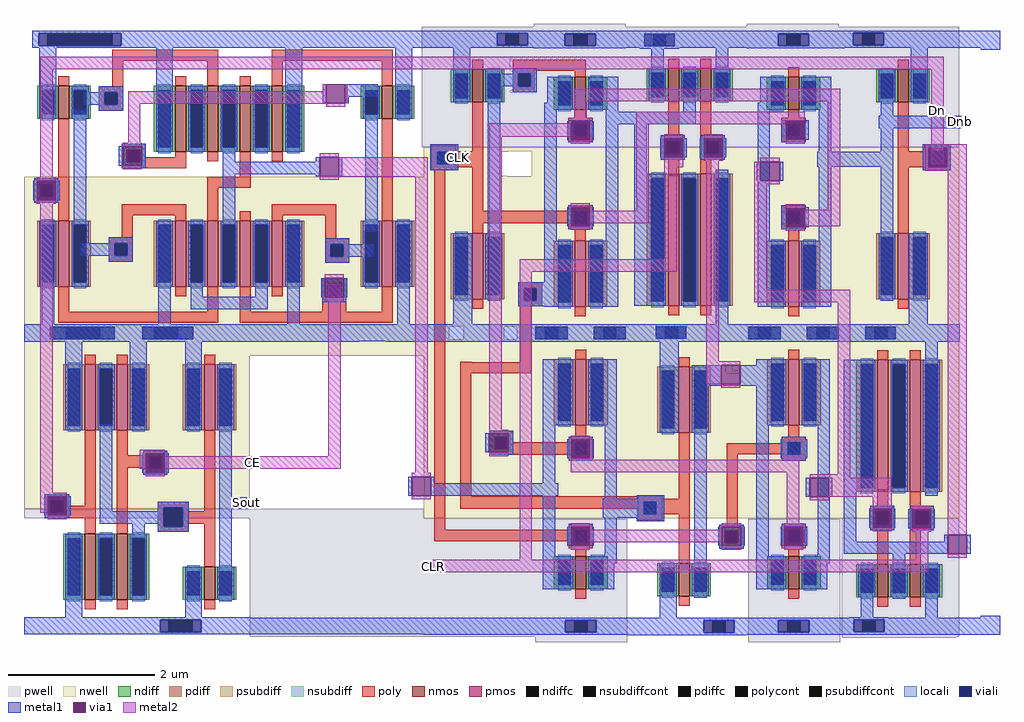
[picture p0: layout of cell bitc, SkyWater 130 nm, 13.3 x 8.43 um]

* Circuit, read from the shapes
.subckt bitc CE CLK CLR Dn Dnb Sout vdd! vss!
XM1 n1 Dn vss! vss! sky130_fd_pr__nfet_01v8 w=0.45 l=0.15
XM2 n2 Dn vss! vss! sky130_fd_pr__nfet_01v8 w=0.9 l=0.15
XM3 n3 CE n2 vss! sky130_fd_pr__nfet_01v8 w=0.9 l=0.15
XM4 n4 n5 vss! vss! sky130_fd_pr__nfet_01v8 w=0.9 l=0.15
XM5 Sout n3 vss! vss! sky130_fd_pr__nfet_01v8 w=0.45 l=0.15
XM6 ffd_0/D n1 n4 vss! sky130_fd_pr__nfet_01v8 w=0.9 l=0.15
XM7 n6 Dn ffd_0/D vss! sky130_fd_pr__nfet_01v8 w=0.9 l=0.15
XM8 vss! CE n6 vss! sky130_fd_pr__nfet_01v8 w=0.9 l=0.15
XM9 vss! CE n5 vss! sky130_fd_pr__nfet_01v8 w=0.45 l=0.15
XM10 ffd_0/tg_0/en CLK vss! vss! sky130_fd_pr__nfet_01v8 w=0.45 l=0.15
XM11 n7 ffd_0/tg_0/en n8 vss! sky130_fd_pr__nfet_01v8 w=0.45 l=0.15
XM12 n8 CLK ffd_0/D vss! sky130_fd_pr__nfet_01v8 w=0.45 l=0.15
XM13 n7 CLR vss! vss! sky130_fd_pr__nfet_01v8 w=0.45 l=0.15
XM14 n9 n8 vss! vss! sky130_fd_pr__nfet_01v8 w=0.45 l=0.15
XM15 vss! n9 n7 vss! sky130_fd_pr__nfet_01v8 w=0.45 l=0.15
XM16 Dnb CLK n10 vss! sky130_fd_pr__nfet_01v8 w=0.45 l=0.15
XM17 n10 ffd_0/tg_0/en n9 vss! sky130_fd_pr__nfet_01v8 w=0.45 l=0.15
XM18 Dn n10 vss! vss! sky130_fd_pr__nfet_01v8 w=0.45 l=0.15
XM19 vss! Dn Dnb vss! sky130_fd_pr__nfet_01v8 w=0.45 l=0.15
XM20 vss! CLR Dn vss! sky130_fd_pr__nfet_01v8 w=0.45 l=0.15
XM21 n1 Dn vdd! vdd! sky130_fd_pr__pfet_01v8 w=0.9 l=0.15
XM22 n3 Dn vdd! vdd! sky130_fd_pr__pfet_01v8 w=0.9 l=0.15
XM23 vdd! CE n3 vdd! sky130_fd_pr__pfet_01v8 w=0.9 l=0.15
XM24 n11 n1 vdd! vdd! sky130_fd_pr__pfet_01v8 w=0.9 l=0.15
XM25 Sout n3 vdd! vdd! sky130_fd_pr__pfet_01v8 w=0.9 l=0.15
XM26 ffd_0/D Dn n11 vdd! sky130_fd_pr__pfet_01v8 w=0.9 l=0.15
XM27 n11 CE ffd_0/D vdd! sky130_fd_pr__pfet_01v8 w=0.9 l=0.15
XM28 vdd! n5 n11 vdd! sky130_fd_pr__pfet_01v8 w=0.9 l=0.15
XM29 vdd! CE n5 vdd! sky130_fd_pr__pfet_01v8 w=0.9 l=0.15
XM30 ffd_0/tg_0/en CLK vdd! vdd! sky130_fd_pr__pfet_01v8 w=0.9 l=0.15
XM31 n7 CLK n8 vdd! sky130_fd_pr__pfet_01v8 w=0.9 l=0.15
XM32 n8 ffd_0/tg_0/en ffd_0/D vdd! sky130_fd_pr__pfet_01v8 w=0.9 l=0.15
XM33 n12 CLR n7 vdd! sky130_fd_pr__pfet_01v8 w=1.8 l=0.15
XM34 n9 n8 vdd! vdd! sky130_fd_pr__pfet_01v8 w=0.9 l=0.15
XM35 vdd! n9 n12 vdd! sky130_fd_pr__pfet_01v8 w=1.8 l=0.15
XM36 Dnb ffd_0/tg_0/en n10 vdd! sky130_fd_pr__pfet_01v8 w=0.9 l=0.15
XM37 n10 CLK n9 vdd! sky130_fd_pr__pfet_01v8 w=0.9 l=0.15
XM38 n13 n10 Dn vdd! sky130_fd_pr__pfet_01v8 w=1.8 l=0.15
XM39 vdd! Dn Dnb vdd! sky130_fd_pr__pfet_01v8 w=0.9 l=0.15
XM40 vdd! CLR n13 vdd! sky130_fd_pr__pfet_01v8 w=1.8 l=0.15
.ends

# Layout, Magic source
magic
tech sky130A
magscale 1 2
<< pwell >>
rect -1083 329 6 356
rect -469 6 6 329
<< metal1 >>
rect -517 1612 -220 1658
rect -32 1612 23 1659
rect 1462 1393 1471 1427
rect 99 1278 100 1349
rect -1059 1197 -1049 1249
rect -997 1197 -987 1249
rect -1084 811 -170 858
rect -98 852 1467 858
rect -98 818 322 852
rect 561 818 906 852
rect 1370 818 1467 852
rect -98 811 1467 818
rect -762 454 -752 506
rect -700 454 -690 506
rect -37 391 -27 443
rect 25 425 35 443
rect 25 392 64 425
rect 25 391 63 392
rect -1029 337 -1019 389
rect -967 337 -957 389
rect -551 356 -477 387
rect -469 13 5 58
rect 1103 52 1496 58
rect 1103 18 1115 52
rect 1484 18 1496 52
rect 1103 12 1496 18
<< via1 >>
rect -1049 1197 -997 1249
rect -752 454 -700 506
rect -27 391 25 443
rect -1019 337 -967 389
<< metal2 >>
rect -1040 1553 1423 1587
rect -1040 1259 -1006 1553
rect -1049 1249 -997 1259
rect -1049 1187 -997 1197
rect -1040 399 -1006 1187
rect -768 506 -700 516
rect -768 464 -752 506
rect -255 498 -221 968
rect -700 464 -221 498
rect -752 444 -700 454
rect -17 453 17 1314
rect 1389 1295 1423 1553
rect -27 443 25 453
rect -1040 389 -967 399
rect -1040 345 -1019 389
rect -27 381 25 391
rect -1019 327 -967 337
rect 31 182 32 216
use and_lede  and_lede_0
transform 1 0 -1017 0 1 494
box -67 -481 548 400
use xor_lede  xor_lede_0
transform 1 0 -864 0 -1 1689
box -220 31 881 917
use ffd  ffd_0
transform 1 0 -1403 0 1 -1111
box 1310 1103 2980 2788
<< labels >>
rlabel metal2 1389 1295 1423 1587 1 Dn
rlabel space 1246 1393 1466 1427 1 Dnb
rlabel metal2 -700 464 -221 498 1 CE
rlabel metal1 -480 356 -477 387 1 Sout
rlabel metal1 1470 1393 1471 1427 1 Dnb
rlabel metal2 31 182 32 216 1 CLR
rlabel metal1 99 1278 100 1349 1 CLK
<< end >>

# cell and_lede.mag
magic
tech sky130A
magscale 1 2
<< nwell >>
rect -66 119 548 400
rect -66 13 394 119
rect -66 -138 548 13
<< psubdiff >>
rect 304 -475 328 -441
rect 392 -475 416 -441
<< nsubdiff >>
rect 255 323 288 357
rect 352 323 395 357
<< psubdiffcont >>
rect 328 -475 392 -441
<< nsubdiffcont >>
rect 288 323 352 357
<< poly >>
rect -10 -115 56 -99
rect -10 -149 6 -115
rect 40 -131 56 -115
rect 98 -131 128 61
rect 40 -149 128 -131
rect -10 -165 128 -149
rect 98 -181 128 -165
rect 186 7 216 56
rect 258 7 324 20
rect 186 4 324 7
rect 186 -27 274 4
rect 186 -205 216 -27
rect 258 -30 274 -27
rect 308 -30 324 4
rect 258 -46 324 -30
rect 298 -136 382 -120
rect 298 -188 314 -136
rect 366 -145 382 -136
rect 424 -145 454 53
rect 366 -179 454 -145
rect 366 -188 382 -179
rect 298 -202 382 -188
rect 424 -271 454 -179
<< polycont >>
rect 6 -149 40 -115
rect 274 -30 308 4
rect 314 -188 366 -136
<< locali >>
rect 258 4 324 20
rect 258 -30 274 4
rect 308 -30 324 4
rect 258 -46 324 -30
rect -10 -115 56 -99
rect -10 -149 6 -115
rect 40 -149 56 -115
rect -10 -165 56 -149
rect 298 -136 382 -120
rect 298 -188 314 -136
rect 366 -188 382 -136
rect 298 -202 382 -188
<< viali >>
rect 255 323 288 357
rect 288 323 352 357
rect 352 323 395 357
rect 274 -30 308 4
rect 6 -149 40 -115
rect 314 -188 366 -136
rect 304 -475 328 -441
rect 328 -475 392 -441
rect 392 -475 416 -441
<< metal1 >>
rect -37 363 118 364
rect -67 357 548 363
rect -67 323 255 357
rect 395 323 548 357
rect -67 317 548 323
rect 46 75 92 317
rect -10 -115 56 -99
rect -10 -149 6 -115
rect 40 -149 56 -115
rect -10 -165 56 -149
rect 140 -145 174 92
rect 222 75 268 317
rect 371 316 548 317
rect 372 75 418 316
rect 258 4 324 20
rect 258 -30 274 4
rect 308 -30 324 4
rect 258 -46 324 -30
rect 298 -136 382 -120
rect 298 -145 314 -136
rect 140 -179 314 -145
rect 228 -207 262 -179
rect 298 -188 314 -179
rect 366 -188 382 -136
rect 298 -202 382 -188
rect 46 -435 92 -207
rect 372 -435 418 -297
rect 466 -391 500 255
rect -66 -441 548 -435
rect -66 -475 304 -441
rect 416 -475 548 -441
rect -66 -481 548 -475
use sky130_fd_pr__pfet_01v8_5AYHFE  sky130_fd_pr__pfet_01v8_5AYHFE_0
transform 1 0 113 0 1 165
box -109 -152 109 152
use sky130_fd_pr__pfet_01v8_5AYHFE  sky130_fd_pr__pfet_01v8_5AYHFE_1
transform 1 0 201 0 1 165
box -109 -152 109 152
use sky130_fd_pr__pfet_01v8_5AYHFE  sky130_fd_pr__pfet_01v8_5AYHFE_2
transform 1 0 439 0 1 165
box -109 -152 109 152
use sky130_fd_pr__nfet_01v8_P8KVP3  sky130_fd_pr__nfet_01v8_P8KVP3_0
transform 1 0 113 0 1 -297
box -73 -116 73 116
use sky130_fd_pr__nfet_01v8_P8KVP3  sky130_fd_pr__nfet_01v8_P8KVP3_1
transform 1 0 201 0 1 -297
box -73 -116 73 116
use sky130_fd_pr__nfet_01v8_NNQ2PV  sky130_fd_pr__nfet_01v8_NNQ2PV_0
transform 1 0 439 0 1 -342
box -73 -71 73 71
<< labels >>
rlabel metal1 466 -391 500 255 1 out
rlabel metal1 6 -149 40 -115 1 B
rlabel poly 186 -27 274 7 1 A
rlabel nwell 288 323 352 357 1 vdd!
rlabel metal1 304 -475 416 -441 1 vss!
<< end >>

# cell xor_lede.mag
magic
tech sky130A
magscale 1 2
<< nwell >>
rect -219 539 880 917
rect -219 486 -96 539
rect -95 534 880 539
rect -95 526 172 534
rect 192 526 222 534
rect 242 526 880 534
rect -95 486 880 526
rect -219 428 880 486
<< psubdiff >>
rect -180 37 -156 71
rect 21 37 45 71
<< nsubdiff >>
rect -150 837 -105 871
rect -13 837 27 871
<< psubdiffcont >>
rect -156 37 21 71
<< nsubdiffcont >>
rect -105 837 -13 871
<< poly >>
rect -126 796 310 826
rect -126 748 -96 796
rect 280 752 310 796
rect 368 796 786 826
rect 368 728 398 796
rect 593 755 659 796
rect 593 721 609 755
rect 643 721 659 755
rect 756 745 786 796
rect 593 705 659 721
rect 11 644 77 660
rect 11 610 27 644
rect 61 610 77 644
rect 11 594 77 610
rect -126 499 -96 539
rect 47 533 77 594
rect 601 647 667 663
rect 601 613 617 647
rect 651 613 667 647
rect 601 597 667 613
rect 601 533 631 597
rect 47 503 222 533
rect -192 483 -96 499
rect -192 449 -176 483
rect -142 449 -96 483
rect -192 433 -96 449
rect -126 296 -96 433
rect 280 458 310 530
rect 456 503 631 533
rect 280 428 398 458
rect 46 389 222 405
rect 46 355 62 389
rect 96 375 222 389
rect 368 386 398 428
rect 96 355 112 375
rect 46 339 112 355
rect 756 284 786 533
rect -16 232 50 248
rect -16 198 0 232
rect 34 198 50 232
rect -16 182 50 198
rect 20 112 50 182
rect 280 112 310 168
rect 20 82 310 112
rect 456 112 486 180
rect 756 112 786 162
rect 456 82 786 112
<< polycont >>
rect 609 721 643 755
rect 27 610 61 644
rect 617 613 651 647
rect -176 449 -142 483
rect 62 355 96 389
rect 0 198 34 232
<< locali >>
rect 593 755 659 771
rect 593 721 609 755
rect 643 721 659 755
rect 593 705 659 721
rect 11 644 77 660
rect 11 610 27 644
rect 61 610 77 644
rect 11 594 77 610
rect 601 647 667 663
rect 601 613 617 647
rect 651 613 667 647
rect 601 596 667 613
rect -192 483 -126 499
rect -192 449 -176 483
rect -142 449 -126 483
rect -192 433 -126 449
rect 46 389 112 405
rect 46 355 62 389
rect 96 355 112 389
rect 46 339 112 355
rect -16 232 50 248
rect -16 198 0 232
rect 34 198 50 232
rect -16 182 50 198
<< viali >>
rect -150 837 -105 871
rect -105 837 -13 871
rect -13 837 27 871
rect 609 721 643 755
rect 27 610 61 644
rect 617 613 651 647
rect -176 449 -142 483
rect 62 355 96 389
rect 0 198 34 232
rect -180 37 -156 71
rect -156 37 21 71
rect 21 37 45 71
<< metal1 >>
rect -219 871 880 877
rect -219 837 -150 871
rect 27 837 880 871
rect -219 831 880 837
rect -172 548 -138 831
rect 11 644 77 660
rect -65 610 27 644
rect 61 610 77 644
rect 11 594 77 610
rect -192 483 -126 499
rect -192 449 -176 483
rect -142 449 -126 483
rect -192 433 -126 449
rect -178 77 -132 270
rect -84 246 -50 557
rect 146 548 180 831
rect 234 756 444 790
rect 234 725 268 756
rect 410 727 444 756
rect 322 422 356 559
rect 498 548 532 831
rect 593 757 659 771
rect 590 705 600 757
rect 652 705 662 757
rect 601 647 667 663
rect 601 613 617 647
rect 651 613 733 647
rect 601 596 667 613
rect 576 422 586 427
rect 46 398 112 405
rect 39 346 49 398
rect 101 346 112 398
rect 322 388 586 422
rect 46 339 112 346
rect -16 232 50 248
rect -57 198 0 232
rect 34 198 50 232
rect -16 182 50 198
rect 140 77 186 360
rect 322 349 356 388
rect 576 375 586 388
rect 638 375 648 427
rect 492 77 538 360
rect 710 261 744 579
rect 798 548 832 831
rect 594 176 604 228
rect 656 210 666 228
rect 656 176 744 210
rect 792 77 838 270
rect -197 71 880 77
rect -197 37 -180 71
rect 45 37 880 71
rect -197 31 880 37
<< via1 >>
rect 600 755 652 757
rect 600 721 609 755
rect 609 721 643 755
rect 643 721 652 755
rect 600 705 652 721
rect 49 389 101 398
rect 49 355 62 389
rect 62 355 96 389
rect 96 355 101 389
rect 49 346 101 355
rect 586 375 638 427
rect 604 176 656 228
<< metal2 >>
rect 600 757 652 767
rect 600 695 652 705
rect 586 428 638 437
rect 586 427 881 428
rect 49 398 101 408
rect 638 375 881 427
rect 586 365 638 375
rect 49 336 101 346
rect 64 230 97 336
rect 604 230 656 238
rect 64 228 656 230
rect 64 195 604 228
rect 594 176 604 195
rect 656 176 662 228
use sky130_fd_pr__nfet_01v8_J836M4  sky130_fd_pr__nfet_01v8_J836M4_0
transform 1 0 -111 0 1 225
box -73 -71 73 71
use sky130_fd_pr__nfet_01v8_P8KVP3  sky130_fd_pr__nfet_01v8_P8KVP3_1
transform 1 0 207 0 1 270
box -73 -116 73 116
use sky130_fd_pr__nfet_01v8_P8KVP3  sky130_fd_pr__nfet_01v8_P8KVP3_2
transform 1 0 295 0 1 270
box -73 -116 73 116
use sky130_fd_pr__nfet_01v8_P8KVP3  sky130_fd_pr__nfet_01v8_P8KVP3_3
transform 1 0 383 0 1 270
box -73 -116 73 116
use sky130_fd_pr__nfet_01v8_P8KVP3  sky130_fd_pr__nfet_01v8_P8KVP3_4
transform 1 0 471 0 1 270
box -73 -116 73 116
use sky130_fd_pr__nfet_01v8_J836M4  sky130_fd_pr__nfet_01v8_J836M4_1
transform 1 0 771 0 1 225
box -73 -71 73 71
use sky130_fd_pr__pfet_01v8_5AYHFE  sky130_fd_pr__pfet_01v8_5AYHFE_0
transform 1 0 -111 0 1 638
box -109 -152 109 152
use sky130_fd_pr__pfet_01v8_5AYHFE  sky130_fd_pr__pfet_01v8_5AYHFE_1
transform 1 0 207 0 1 638
box -109 -152 109 152
use sky130_fd_pr__pfet_01v8_5AYHFE  sky130_fd_pr__pfet_01v8_5AYHFE_2
transform 1 0 295 0 1 638
box -109 -152 109 152
use sky130_fd_pr__pfet_01v8_5AYHFE  sky130_fd_pr__pfet_01v8_5AYHFE_5
transform 1 0 383 0 1 638
box -109 -152 109 152
use sky130_fd_pr__pfet_01v8_5AYHFE  sky130_fd_pr__pfet_01v8_5AYHFE_4
transform 1 0 471 0 1 638
box -109 -152 109 152
use sky130_fd_pr__pfet_01v8_5AYHFE  sky130_fd_pr__pfet_01v8_5AYHFE_3
transform 1 0 771 0 1 638
box -109 -152 109 152
<< labels >>
rlabel metal1 -142 433 -126 499 1 a
rlabel metal2 600 695 652 705 1 b
rlabel metal2 638 375 881 428 1 z
rlabel nwell -150 837 27 871 1 vdd!
rlabel metal1 -156 37 21 71 1 vss!
<< end >>

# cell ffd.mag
magic
tech sky130A
magscale 1 2
<< nwell >>
rect 1409 2451 2287 2452
rect 2290 2451 2547 2452
rect 2569 2451 2869 2452
rect 1409 2450 2869 2451
rect 1409 2444 2482 2450
rect 1409 2441 2485 2444
rect 1409 2440 1636 2441
rect 1703 2440 2485 2441
rect 2489 2440 2869 2450
rect 1409 2374 1617 2440
rect 1409 2373 1636 2374
rect 1703 2373 2869 2440
rect 1409 2152 2869 2373
rect 1409 2056 1467 2152
rect 1468 2056 2869 2152
rect 1409 1963 2869 2056
rect 1409 1929 1478 1963
rect 1516 1929 1629 1963
rect 1663 1929 2712 1963
rect 2773 1929 2869 1963
rect 1409 1858 2869 1929
rect 1409 1836 2234 1858
rect 2274 1836 2869 1858
rect 1409 1440 2869 1836
<< pwell >>
rect 1403 2692 2869 2781
rect 1403 2660 1645 2692
rect 1651 2660 2869 2692
rect 1403 2608 2869 2660
rect 1403 2602 1645 2608
rect 1651 2602 2869 2608
rect 1403 2527 2869 2602
rect 1403 2525 2427 2527
rect 2458 2525 2869 2527
rect 1403 2452 2869 2525
rect 1409 1118 1733 1440
rect 1874 1242 1946 1321
rect 2479 1240 2532 1321
rect 2548 1118 2869 1440
<< poly >>
rect 1651 2661 1851 2691
rect 1651 2652 1711 2661
rect 1651 2618 1667 2652
rect 1701 2618 1711 2652
rect 1651 2602 1711 2618
rect 1437 1409 1467 2459
rect 1468 2406 1483 2436
rect 1541 2245 1853 2279
rect 1666 2068 1732 2084
rect 1666 2034 1682 2068
rect 1716 2034 1732 2068
rect 1666 2018 1732 2034
rect 1509 1866 1539 1867
rect 1672 1866 1702 2018
rect 1509 1836 1702 1866
rect 1509 1501 1539 1836
rect 1587 1663 1653 1679
rect 1587 1629 1603 1663
rect 1637 1647 1653 1663
rect 1637 1629 1853 1647
rect 1587 1613 1853 1629
rect 2235 1615 2437 1645
rect 1509 1467 2046 1501
rect 2235 1423 2265 1615
rect 1437 1378 1853 1409
rect 2215 1407 2281 1423
rect 2215 1373 2231 1407
rect 2265 1373 2281 1407
rect 2215 1357 2281 1373
<< polycont >>
rect 1667 2618 1701 2652
rect 1682 2034 1716 2068
rect 1603 1629 1637 1663
rect 2231 1373 2265 1407
<< locali >>
rect 1651 2652 1711 2668
rect 1651 2618 1667 2652
rect 1701 2618 1711 2652
rect 1651 2602 1711 2618
rect 1666 2068 1732 2084
rect 1666 2034 1682 2068
rect 1716 2034 1732 2068
rect 1666 2018 1732 2034
rect 1587 1663 1653 1679
rect 1587 1629 1603 1663
rect 1637 1629 1653 1663
rect 1587 1613 1653 1629
rect 2215 1407 2281 1423
rect 2215 1373 2231 1407
rect 2265 1373 2281 1407
rect 2215 1357 2281 1373
<< viali >>
rect 1667 2618 1701 2652
rect 1682 2034 1716 2068
rect 1603 1629 1637 1663
rect 2231 1373 2265 1407
<< metal1 >>
rect 1503 2763 2555 2769
rect 1503 2729 1515 2763
rect 1954 2729 2325 2763
rect 2521 2729 2555 2763
rect 1503 2723 2555 2729
rect 2848 2723 2980 2770
rect 2525 2722 2555 2723
rect 2928 2718 2980 2723
rect 1651 2652 1717 2668
rect 1583 2618 1667 2652
rect 1701 2618 1717 2652
rect 1651 2602 1717 2618
rect 1800 2471 1810 2523
rect 1862 2471 1872 2523
rect 1927 2515 2027 2549
rect 2386 2524 2389 2525
rect 2427 2524 2458 2525
rect 1426 2389 1502 2460
rect 1609 2402 1617 2440
rect 2054 2425 2064 2477
rect 2116 2425 2126 2477
rect 2162 2425 2172 2477
rect 2224 2425 2234 2477
rect 2386 2472 2396 2524
rect 2448 2472 2458 2524
rect 2649 2504 2869 2538
rect 1596 2374 1617 2402
rect 2317 2361 2327 2413
rect 2379 2361 2389 2413
rect 2482 2399 2678 2440
rect 2774 2398 2784 2450
rect 2836 2398 2846 2450
rect 1800 2236 1810 2289
rect 1862 2236 1872 2289
rect 2386 2286 2389 2288
rect 2427 2286 2458 2288
rect 2386 2234 2396 2286
rect 2448 2234 2458 2286
rect 1666 2068 1762 2084
rect 1666 2034 1682 2068
rect 1716 2034 1762 2068
rect 1666 2018 1762 2034
rect 1466 1963 1675 1969
rect 1466 1929 1478 1963
rect 1516 1929 1662 1963
rect 1663 1929 1675 1963
rect 1466 1925 1675 1929
rect 1704 1963 2832 1969
rect 1704 1929 1749 1963
rect 1924 1929 2677 1963
rect 2707 1929 2719 1963
rect 2773 1929 2785 1963
rect 2820 1929 2832 1963
rect 1704 1925 2832 1929
rect 1466 1923 2832 1925
rect 1663 1922 1709 1923
rect 2140 1806 2220 1858
rect 2272 1806 2346 1858
rect 2140 1802 2346 1806
rect 1587 1672 1653 1679
rect 1577 1620 1587 1672
rect 1639 1620 1653 1672
rect 1587 1613 1653 1620
rect 1800 1604 1810 1656
rect 1862 1604 1872 1656
rect 2382 1604 2392 1656
rect 2444 1604 2454 1656
rect 1440 1502 1775 1536
rect 2451 1499 2461 1551
rect 2513 1499 2523 1551
rect 1897 1442 2053 1494
rect 2215 1417 2281 1423
rect 1800 1365 1810 1417
rect 1862 1365 1872 1417
rect 2212 1365 2222 1417
rect 2274 1365 2284 1417
rect 2382 1365 2392 1417
rect 2444 1365 2454 1417
rect 2623 1415 2633 1467
rect 2685 1415 2695 1467
rect 2730 1413 2740 1465
rect 2792 1413 2802 1465
rect 2828 1377 2838 1395
rect 2215 1357 2281 1365
rect 2663 1343 2838 1377
rect 2890 1343 2900 1395
rect 2928 1169 2980 1175
rect 1408 1123 1718 1169
rect 2284 1123 2305 1169
rect 2535 1123 2556 1169
rect 2860 1123 2980 1169
<< via1 >>
rect 1810 2471 1862 2523
rect 2064 2425 2116 2477
rect 2172 2425 2224 2477
rect 2396 2472 2448 2524
rect 2327 2361 2379 2413
rect 2784 2398 2836 2450
rect 1810 2237 1862 2289
rect 2396 2234 2448 2286
rect 2220 1806 2272 1858
rect 1587 1663 1639 1672
rect 1587 1629 1603 1663
rect 1603 1629 1637 1663
rect 1637 1629 1639 1663
rect 1587 1620 1639 1629
rect 1810 1604 1862 1656
rect 2461 1499 2513 1551
rect 1810 1365 1862 1417
rect 2222 1407 2274 1417
rect 2222 1373 2231 1407
rect 2231 1373 2265 1407
rect 2265 1373 2274 1407
rect 2222 1365 2274 1373
rect 2392 1365 2444 1417
rect 2633 1415 2685 1467
rect 2740 1413 2792 1465
rect 2838 1343 2890 1395
<< metal2 >>
rect 1819 2577 2544 2611
rect 1819 2533 1853 2577
rect 1810 2523 1862 2533
rect 1587 2481 1810 2517
rect 1587 1682 1621 2481
rect 1810 2461 1862 2471
rect 1988 2524 2448 2549
rect 1988 2515 2396 2524
rect 1988 2445 2022 2515
rect 2064 2477 2116 2487
rect 1988 2314 2023 2445
rect 1810 2289 1862 2299
rect 1989 2279 2023 2314
rect 1862 2245 2023 2279
rect 2064 2398 2116 2425
rect 2172 2477 2224 2487
rect 2396 2462 2448 2472
rect 2172 2415 2224 2425
rect 1810 2227 1862 2237
rect 2064 2146 2098 2398
rect 1670 2112 2098 2146
rect 1587 1672 1639 1682
rect 1587 1610 1639 1620
rect 1670 1327 1704 2112
rect 2179 1868 2213 2415
rect 2327 2413 2379 2423
rect 2310 2361 2327 2413
rect 2310 2351 2379 2361
rect 2310 2064 2344 2351
rect 2396 2286 2448 2296
rect 2510 2282 2544 2577
rect 2776 2450 2890 2460
rect 2776 2398 2784 2450
rect 2836 2398 2890 2450
rect 2776 2388 2890 2398
rect 2448 2236 2544 2282
rect 2396 2224 2448 2234
rect 2310 2030 2572 2064
rect 2179 1858 2272 1868
rect 2179 1806 2220 1858
rect 2220 1796 2272 1806
rect 1810 1657 1862 1666
rect 1809 1656 1869 1657
rect 1809 1604 1810 1656
rect 1862 1604 1869 1656
rect 1809 1600 1869 1604
rect 1809 1566 2433 1600
rect 2399 1427 2433 1566
rect 2538 1561 2572 2030
rect 2461 1551 2572 1561
rect 2513 1499 2685 1551
rect 2461 1489 2513 1499
rect 2633 1467 2685 1499
rect 1810 1417 1862 1427
rect 2222 1417 2274 1427
rect 1862 1375 2222 1409
rect 1810 1355 1862 1365
rect 2222 1355 2274 1365
rect 2392 1417 2444 1427
rect 2444 1374 2448 1408
rect 2633 1405 2685 1415
rect 2740 1465 2792 1475
rect 2740 1403 2792 1413
rect 2392 1355 2444 1365
rect 2750 1327 2784 1403
rect 2838 1395 2890 2388
rect 2838 1333 2890 1343
rect 1435 1293 2785 1327
use tg  tg_3
transform 1 0 1747 0 1 1429
box -35 -326 258 621
use tg  tg_1
transform -1 0 2507 0 -1 2462
box -35 -326 258 621
use tg  tg_2
transform 1 0 2328 0 1 1429
box -35 -326 258 621
use tg  tg_0
transform -1 0 1926 0 -1 2462
box -35 -326 258 621
use nor  nor_1
transform -1 0 2844 0 1 1134
box -17 -20 296 869
use nor  nor_0
transform -1 0 2273 0 -1 2758
box -17 -20 296 869
use inverter  inverter_1
transform -1 0 2503 0 -1 2611
box -369 -159 -44 689
use inverter  inverter_2
transform 1 0 2332 0 1 1281
box -369 -159 -44 689
use inverter  inverter_0
transform 1 0 1769 0 -1 2611
box -369 -159 -44 689
<< labels >>
rlabel metal2 1435 1293 2785 1327 1 CLR
rlabel metal1 1426 2389 1502 2460 1 CLK
rlabel metal1 2649 2504 2869 2538 1 Qb
rlabel metal1 1440 1502 1775 1536 1 D
rlabel metal2 2776 2388 2890 2460 1 Q
<< end >>

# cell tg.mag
magic
tech sky130A
magscale 1 2
<< nwell >>
rect -35 451 258 621
rect -34 12 217 451
<< pwell >>
rect -34 -326 217 10
<< psubdiff >>
rect 48 -300 72 -266
rect 108 -300 132 -266
<< nsubdiff >>
rect 125 500 152 534
rect 186 500 213 534
<< psubdiffcont >>
rect 72 -300 108 -266
<< nsubdiffcont >>
rect 152 500 186 534
<< viali >>
rect 125 500 152 534
rect 152 500 186 534
rect 186 500 213 534
rect 48 -300 72 -266
rect 72 -300 108 -266
rect 108 -300 132 -266
<< metal1 >>
rect -16 534 235 540
rect -16 500 125 534
rect 213 500 235 534
rect -16 494 235 500
rect -13 265 63 445
rect 117 265 188 445
rect -13 -92 21 265
rect 57 168 123 234
rect 57 -63 123 -4
rect 155 -87 188 265
rect 154 -92 188 -87
rect -13 -93 29 -92
rect 63 -93 69 -92
rect -13 -182 69 -93
rect 117 -111 188 -92
rect 117 -182 181 -111
rect -34 -266 217 -260
rect -34 -300 48 -266
rect 132 -300 217 -266
rect -34 -306 217 -300
use sky130_fd_pr__pfet_01v8_BHXHFC  sky130_fd_pr__pfet_01v8_BHXHFC_0
transform 1 0 90 0 1 319
box -109 -154 109 188
use sky130_fd_pr__nfet_01v8_NNQAGW  sky130_fd_pr__nfet_01v8_NNQAGW_0
transform 1 0 90 0 1 -106
box -73 -102 73 102
<< labels >>
rlabel metal1 73 184 107 218 1 enn
rlabel metal1 73 -54 107 -20 1 en
rlabel nwell 152 500 186 534 1 vdd!
rlabel pwell 48 -300 132 -266 1 vss!
<< end >>

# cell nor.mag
magic
tech sky130A
magscale 1 2
<< nwell >>
rect -17 306 296 869
<< pwell >>
rect -17 -20 296 306
<< psubdiff >>
rect 180 -3 204 31
rect 239 -3 263 31
<< nsubdiff >>
rect 148 794 172 828
rect 206 794 231 828
<< psubdiffcont >>
rect 204 -3 239 31
<< nsubdiffcont >>
rect 172 794 206 828
<< poly >>
rect 80 340 110 375
rect 168 340 198 385
rect 44 324 110 340
rect 44 290 60 324
rect 94 290 110 324
rect 44 274 110 290
rect 152 324 218 340
rect 152 290 168 324
rect 202 290 218 324
rect 152 274 218 290
rect 80 202 110 274
rect 168 202 198 274
<< polycont >>
rect 60 290 94 324
rect 168 290 202 324
<< locali >>
rect 44 324 109 340
rect 44 290 60 324
rect 94 290 109 324
rect 44 274 109 290
rect 152 324 218 340
rect 152 290 168 324
rect 202 290 218 324
rect 152 274 218 290
<< viali >>
rect 148 794 172 828
rect 172 794 206 828
rect 206 794 231 828
rect 60 290 94 324
rect 168 290 202 324
rect 180 -3 204 31
rect 204 -3 239 31
rect 239 -3 263 31
<< metal1 >>
rect -14 828 292 835
rect -14 794 148 828
rect 231 794 292 828
rect -14 789 292 794
rect 34 368 68 789
rect 136 788 243 789
rect 204 378 290 738
rect 44 324 109 340
rect 44 290 60 324
rect 94 290 109 324
rect 44 274 109 290
rect 152 324 218 340
rect 152 290 168 324
rect 202 290 218 324
rect 152 274 218 290
rect 256 243 290 378
rect 122 209 290 243
rect 34 35 68 181
rect 122 87 156 209
rect 210 37 244 181
rect 168 35 275 37
rect -17 31 296 35
rect -17 -3 180 31
rect 263 -3 296 31
rect -17 -11 296 -3
use sky130_fd_pr__nfet_01v8_NNQ2PV  sky130_fd_pr__nfet_01v8_NNQ2PV_1
transform 1 0 183 0 1 136
box -73 -71 73 71
use sky130_fd_pr__nfet_01v8_NNQ2PV  sky130_fd_pr__nfet_01v8_NNQ2PV_0
transform 1 0 95 0 1 136
box -73 -71 73 71
use sky130_fd_pr__pfet_01v8_5CNMEE  sky130_fd_pr__pfet_01v8_5CNMEE_1
transform 1 0 183 0 1 558
box -109 -242 109 242
use sky130_fd_pr__pfet_01v8_5CNMEE  sky130_fd_pr__pfet_01v8_5CNMEE_0
transform 1 0 95 0 1 558
box -109 -242 109 242
<< labels >>
rlabel nwell 172 794 206 828 1 vdd!
rlabel pwell 180 -3 263 31 1 vss!
<< end >>

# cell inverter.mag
magic
tech sky130A
magscale 1 2
<< psubdiff >>
rect -160 -153 -136 -119
rect -101 -153 -77 -119
<< psubdiffcont >>
rect -136 -153 -101 -119
<< poly >>
rect -341 213 -271 222
rect -228 213 -198 369
rect -341 205 -198 213
rect -341 171 -323 205
rect -289 171 -198 205
rect -341 170 -198 171
rect -341 152 -271 170
rect -228 51 -198 170
<< polycont >>
rect -323 171 -289 205
<< locali >>
rect -339 205 -273 221
rect -339 171 -323 205
rect -289 171 -273 205
rect -339 155 -273 171
<< viali >>
rect -323 171 -289 205
rect -160 -153 -136 -119
rect -136 -153 -101 -119
rect -101 -153 -77 -119
<< metal1 >>
rect -302 688 -44 689
rect -365 642 -44 688
rect -280 393 -228 642
rect -343 205 -267 222
rect -343 171 -323 205
rect -289 171 -267 205
rect -343 151 -267 171
rect -280 -112 -234 37
rect -186 -57 -152 577
rect -369 -119 -44 -112
rect -369 -153 -160 -119
rect -77 -153 -44 -119
rect -369 -158 -44 -153
rect -366 -159 -44 -158
use sky130_fd_pr__pfet_01v8_5AYHFE  sky130_fd_pr__pfet_01v8_5AYHFE_0
transform 1 0 -213 0 1 483
box -109 -152 109 152
use sky130_fd_pr__nfet_01v8_NNQ2PV  sky130_fd_pr__nfet_01v8_NNQ2PV_0
transform 1 0 -213 0 1 -8
box -73 -71 73 71
<< labels >>
rlabel metal1 -160 -153 -77 -119 1 vss!
<< end >>

# cell sky130_fd_pr__pfet_01v8_5AYHFE: kit device sky130_fd_pr__pfet_01v8, w 0.9 l 0.15 m 1 nf 1 diffcov 100 polycov 100 guard 0 glc 0 grc 0 gtc 0 gbc 0 tbcov 100 rlcov 100 topc 0 botc 0 poverlap 0 doverlap 1 lmin 0.15 wmin 0.42 compatible {sky130_fd_pr__pfet_01v8 sky130_fd_pr__pfet_01v8_lvt sky130_fd_pr__pfet_01v8_hvt sky130_fd_pr__pfet_g5v0d10v5} full_metal 0 viasrc 100 viadrn 100 viagate 100 viagb 0 viagr 0 viagl 0 viagt 0

# cell sky130_fd_pr__nfet_01v8_NNQ2PV: kit device sky130_fd_pr__nfet_01v8, w 0.450 l 0.150 m 1 nf 1 diffcov 100 polycov 100 guard 0 glc 0 grc 0 gtc 0 gbc 0 tbcov 100 rlcov 100 topc 0 botc 0 poverlap 0 doverlap 1 lmin 0.15 wmin 0.42 compatible {sky130_fd_pr__nfet_01v8 sky130_fd_pr__nfet_01v8_lvt sky130_fd_bs_flash__special_sonosfet_star sky130_fd_pr__nfet_g5v0d10v5 sky130_fd_pr__nfet_05v0_nvt} full_metal 0 viasrc 100 viadrn 100 viagate 100 viagb 0 viagr 0 viagl 0 viagt 0

# cell sky130_fd_pr__pfet_01v8_5CNMEE: kit device sky130_fd_pr__pfet_01v8, w 1.8 l 0.15 m 1 nf 1 diffcov 100 polycov 100 guard 0 glc 0 grc 0 gtc 0 gbc 0 tbcov 100 rlcov 100 topc 0 botc 0 poverlap 0 doverlap 1 lmin 0.15 wmin 0.42 compatible {sky130_fd_pr__pfet_01v8 sky130_fd_pr__pfet_01v8_lvt sky130_fd_pr__pfet_01v8_hvt sky130_fd_pr__pfet_g5v0d10v5} full_metal 0 viasrc 100 viadrn 100 viagate 100 viagb 0 viagr 0 viagl 0 viagt 0

# cell sky130_fd_pr__pfet_01v8_BHXHFC: kit device sky130_fd_pr__pfet_01v8, w 0.9 l 0.15 m 1 nf 1 diffcov 100 polycov 100 guard 0 glc 0 grc 0 gtc 0 gbc 0 tbcov 100 rlcov 100 topc 0 botc 1 poverlap 0 doverlap 1 lmin 0.15 wmin 0.42 compatible {sky130_fd_pr__pfet_01v8 sky130_fd_pr__pfet_01v8_lvt sky130_fd_pr__pfet_01v8_hvt sky130_fd_pr__pfet_g5v0d10v5} full_metal 0 viasrc 100 viadrn 100 viagate 100 viagb 0 viagr 0 viagl 0 viagt 0

# cell sky130_fd_pr__nfet_01v8_NNQAGW: kit device sky130_fd_pr__nfet_01v8, w 0.450 l 0.150 m 1 nf 1 diffcov 100 polycov 100 guard 0 glc 0 grc 0 gtc 0 gbc 0 tbcov 100 rlcov 100 topc 1 botc 0 poverlap 0 doverlap 1 lmin 0.15 wmin 0.42 compatible {sky130_fd_pr__nfet_01v8 sky130_fd_pr__nfet_01v8_lvt sky130_fd_bs_flash__special_sonosfet_star sky130_fd_pr__nfet_g5v0d10v5 sky130_fd_pr__nfet_05v0_nvt} full_metal 0 viasrc 100 viadrn 100 viagate 100 viagb 0 viagr 0 viagl 0 viagt 0

# cell sky130_fd_pr__nfet_01v8_J836M4: kit device sky130_fd_pr__nfet_01v8, w 0.45 l 0.150 m 1 nf 1 diffcov 100 polycov 100 guard 0 glc 0 grc 0 gtc 0 gbc 0 tbcov 100 rlcov 100 topc 0 botc 0 poverlap 0 doverlap 1 lmin 0.15 wmin 0.42 compatible {sky130_fd_pr__nfet_01v8 sky130_fd_pr__nfet_01v8_lvt sky130_fd_bs_flash__special_sonosfet_star sky130_fd_pr__nfet_g5v0d10v5 sky130_fd_pr__nfet_05v0_nvt} full_metal 0 viasrc 100 viadrn 100 viagate 100 viagb 0 viagr 0 viagl 0 viagt 0

# cell sky130_fd_pr__nfet_01v8_P8KVP3: kit device sky130_fd_pr__nfet_01v8, w 0.9 l 0.150 m 1 nf 1 diffcov 100 polycov 100 guard 0 glc 0 grc 0 gtc 0 gbc 0 tbcov 100 rlcov 100 topc 0 botc 0 poverlap 0 doverlap 1 lmin 0.15 wmin 0.42 compatible {sky130_fd_pr__nfet_01v8 sky130_fd_pr__nfet_01v8_lvt sky130_fd_bs_flash__special_sonosfet_star sky130_fd_pr__nfet_g5v0d10v5 sky130_fd_pr__nfet_05v0_nvt} full_metal 0 viasrc 100 viadrn 100 viagate 100 viagb 0 viagr 0 viagl 0 viagt 0
